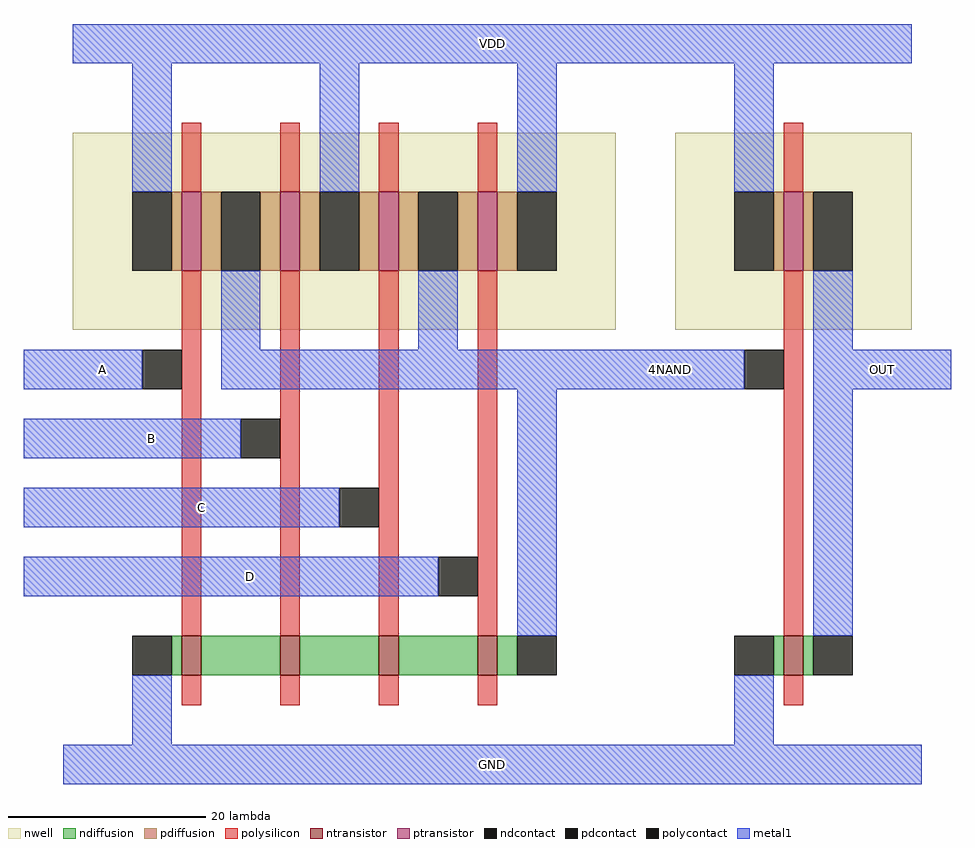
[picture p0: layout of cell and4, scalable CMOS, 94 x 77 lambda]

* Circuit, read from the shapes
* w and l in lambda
.subckt and4 4NAND A B C D GND OUT VDD
M1 n1 A GND VSUBS nfet w=4 l=2
M2 n2 B n1 VSUBS nfet w=4 l=2
M3 n3 C n2 VSUBS nfet w=4 l=2
M4 4NAND D n3 VSUBS nfet w=4 l=2
M5 OUT 4NAND GND VSUBS nfet w=4 l=2
M6 4NAND A VDD n4 pfet w=8 l=2
M7 VDD B 4NAND n4 pfet w=8 l=2
M8 4NAND C VDD n4 pfet w=8 l=2
M9 VDD D 4NAND n4 pfet w=8 l=2
M10 OUT 4NAND VDD n5 pfet w=8 l=2
.ends

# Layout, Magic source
magic
tech scmos
<< nwell >>
rect 0 -1 55 19
rect 61 -1 85 19
<< ntransistor >>
rect 11 -36 13 -32
rect 21 -36 23 -32
rect 31 -36 33 -32
rect 41 -36 43 -32
rect 72 -36 74 -32
<< ptransistor >>
rect 11 5 13 13
rect 21 5 23 13
rect 31 5 33 13
rect 41 5 43 13
rect 72 5 74 13
<< ndiffusion >>
rect 10 -36 11 -32
rect 13 -36 21 -32
rect 23 -36 31 -32
rect 33 -36 41 -32
rect 43 -36 45 -32
rect 71 -36 72 -32
rect 74 -36 75 -32
<< pdiffusion >>
rect 10 5 11 13
rect 13 5 15 13
rect 19 5 21 13
rect 23 5 25 13
rect 29 5 31 13
rect 33 5 35 13
rect 39 5 41 13
rect 43 5 45 13
rect 71 5 72 13
rect 74 5 75 13
<< ndcontact >>
rect 6 -36 10 -32
rect 45 -36 49 -32
rect 67 -36 71 -32
rect 75 -36 79 -32
<< pdcontact >>
rect 6 5 10 13
rect 15 5 19 13
rect 25 5 29 13
rect 35 5 39 13
rect 45 5 49 13
rect 67 5 71 13
rect 75 5 79 13
<< polysilicon >>
rect 11 13 13 20
rect 21 13 23 20
rect 31 13 33 20
rect 41 13 43 20
rect 72 13 74 20
rect 11 -32 13 5
rect 21 -32 23 5
rect 31 -32 33 5
rect 41 -32 43 5
rect 72 -32 74 5
rect 11 -39 13 -36
rect 21 -39 23 -36
rect 31 -39 33 -36
rect 41 -39 43 -36
rect 72 -39 74 -36
<< polycontact >>
rect 7 -7 11 -3
rect 17 -14 21 -10
rect 27 -21 31 -17
rect 37 -28 41 -24
rect 68 -7 72 -3
<< metal1 >>
rect 0 26 85 30
rect 6 13 10 26
rect 25 13 29 26
rect 45 13 49 26
rect 67 13 71 26
rect 15 -3 19 5
rect 35 -3 39 5
rect 75 -3 79 5
rect -5 -7 7 -3
rect 15 -7 68 -3
rect 75 -7 89 -3
rect -5 -14 17 -10
rect -5 -21 27 -17
rect -5 -28 37 -24
rect 45 -32 49 -7
rect 75 -32 79 -7
rect 6 -43 10 -36
rect 67 -43 71 -36
rect -1 -47 86 -43
<< labels >>
rlabel metal1 -5 -7 11 -3 1 A
rlabel metal1 -5 -14 21 -10 1 B
rlabel metal1 -5 -21 31 -17 1 C
rlabel metal1 75 -7 89 -3 1 OUT
rlabel metal1 -5 -28 41 -24 1 D
rlabel metal1 49 -7 72 -3 1 4NAND
rlabel metal1 0 26 85 30 5 VDD
rlabel metal1 -1 -47 86 -43 1 GND
<< end >>
